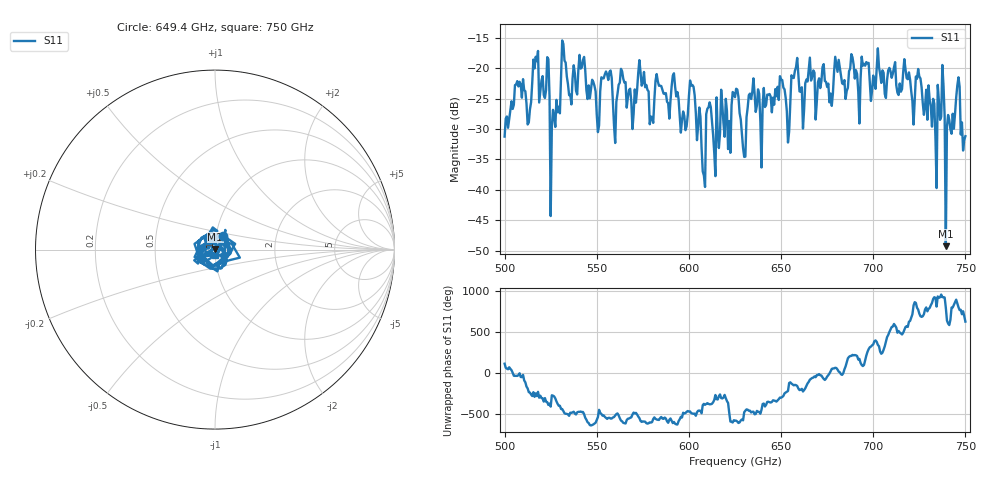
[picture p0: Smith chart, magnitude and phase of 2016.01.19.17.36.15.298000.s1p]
!Created with skrf (http://scikit-rf.org).
# GHz S RI R 50.0
!freq ReS11 ImS11
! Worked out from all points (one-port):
!   401 points, 500 GHz to 750 GHz, reference 50 ohm
!   lowest |S11| = -49.3 dB at 739.4 GHz (marker M1), VSWR 1.01, Z = 50.1 + j0.336 ohm
!   |S11| at or under -10 dB: start of sweep to end of sweep
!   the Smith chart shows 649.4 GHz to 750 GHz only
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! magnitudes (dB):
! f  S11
! 500 GHz  -31.3
! 506.9 GHz  -22.1
! 513.1 GHz  -28.9
! 516.9 GHz  -18.1
! 523.1 GHz  -18.2
! 526.2 GHz  -26.9
! 531.2 GHz  -15.5
! 541.9 GHz  -19.9
! 550.6 GHz  -30.5
! 562.5 GHz  -22.4
! 593.8 GHz  -23.9
! 601.9 GHz  -22.8
! 607.5 GHz  -37.0
! 610.6 GHz  -26.4
! 615 GHz  -24.8
! 625 GHz  -24.8
! 629.4 GHz  -33.1
! 633.8 GHz  -25.1
! 650.6 GHz  -22.0
! 653.8 GHz  -32.2
! 656.2 GHz  -21.6
! 687.5 GHz  -20.1
! 718.8 GHz  -21.8
! 733.1 GHz  -25.8
! 736.9 GHz  -28.0
! 739.4 GHz  -49.3
! 745.6 GHz  -22.9
! 750 GHz  -31.2
